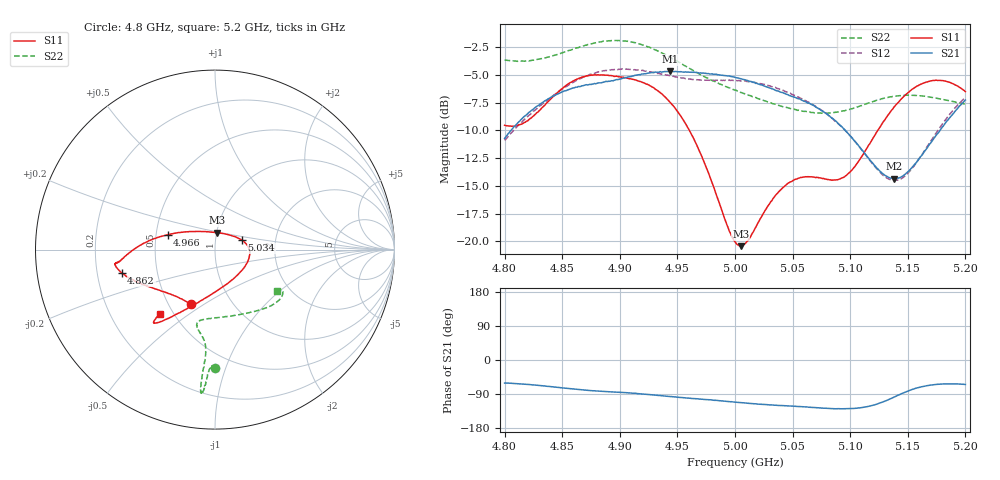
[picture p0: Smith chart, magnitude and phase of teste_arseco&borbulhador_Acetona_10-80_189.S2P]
! Network Analyzer HP8722D
! Hewlett-Packard
! Data name: Linha & Wilkinson
! Saver's name: Rodrigo Anjos
! Comments: Teste da utilização de aquisição
! continua pelo VNA HP8722D
! Time and date: 17/4/2025 15:56
!  Frequency  S11  S21  S12  S22
# HZ  S  MA R 50
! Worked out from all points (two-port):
!   401 points, 4.8 GHz to 5.2 GHz, reference 50 ohm
!   highest |S21| = -4.68 dB at 4.944 GHz (marker M1); lowest = -14.4 dB at 5.138 GHz (marker M2)
!   |S21| within 3 dB of the highest: 4.83 GHz to 5.066 GHz (236.1 MHz wide, 4.77 % of centre); 5.196255 GHz to end of sweep
!   lowest |S11| = -20.4 dB at 5.005 GHz (marker M3), VSWR 1.21, Z = 50.3 + j9.58 ohm
!   |S11| at or under -10 dB: 4.96 GHz to 5.124 GHz (163.6 MHz wide, 3.24 % of centre)
!   |S22| runs from -8.5 to -1.9 dB; largest |S21 - S12| = 0.87
!   S11 on the Smith chart (normalised r, x): 4.8 GHz: 0.65, -0.44; 4.862 GHz: 0.31, -0.11; 4.966 GHz: 0.58, +0.10; 5.034 GHz: 1.34, +0.15; 5.2 GHz: 0.42, -0.39
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4.8e9  0.3335 -113.6  0.2907 -60.8  0.2854 -175.1  0.6573 -90.1
4.819e9  0.3479 -133.6  0.3716 -64.2  0.3612 -173.8  0.651 -91.7
4.862e9  0.5358 -166.0  0.495 -77.1  0.5293 -177.0  0.7433 -93.9
4.867e9  0.5483 -168.0  0.5017 -78.8  0.5441 -178.0  0.756 -94.1
4.9e9  0.5508 -172.4  0.5381 -85.3  0.5957 175.5  0.8024 -95.4
4.934e9  0.4724 -178.4  0.5782 -93.7  0.5711 171.7  0.7158 -95.9
4.944e9  0.4219 177.1  0.5837 -96.6  0.5561 171.8  0.6737 -95.6
4.966e9  0.2769 162.4  0.5769 -102.1  0.535 173.6  0.5801 -95.2
5e9  0.09964 100.6  0.5486 -111.2  0.5305 176.0  0.4799 -99.2
5.005e9  0.09512 82.6  0.5401 -112.6  0.528 176.0  0.4685 -100.4
5.012e9  0.1022 59.2  0.5266 -114.4  0.523 175.7  0.455 -101.8
5.034e9  0.1582 19.7  0.4828 -119.3  0.4951 174.7  0.4158 -103.3
5.05e9  0.1874 3.4  0.4489 -121.8  0.4578 173.9  0.3952 -99.4
5.067e9  0.1952 -14.7  0.4119 -125.1  0.4142 173.5  0.3807 -90.5
5.086e9  0.189 -44.9  0.3533 -128.6  0.351 173.7  0.3808 -76.2
5.097e9  0.1988 -67.4  0.3108 -128.7  0.311 174.6  0.3901 -67.1
5.134e9  0.3775 -116.9  0.1935 -103.7  0.1904 -156.5  0.4467 -43.0
5.138e9  0.4023 -119.1  0.1913 -97.9  0.1884 -150.2  0.4499 -41.2
5.15e9  0.4668 -124.5  0.2054 -82.1  0.2024 -131.8  0.4553 -36.7
5.17e9  0.5283 -129.2  0.2779 -66.1  0.2836 -112.4  0.4463 -32.1
5.184e9  0.5244 -130.4  0.3487 -63.0  0.3604 -107.3  0.4325 -31.0
5.2e9  0.4726 -130.7  0.4331 -64.5  0.445 -106.6  0.4151 -33.4
